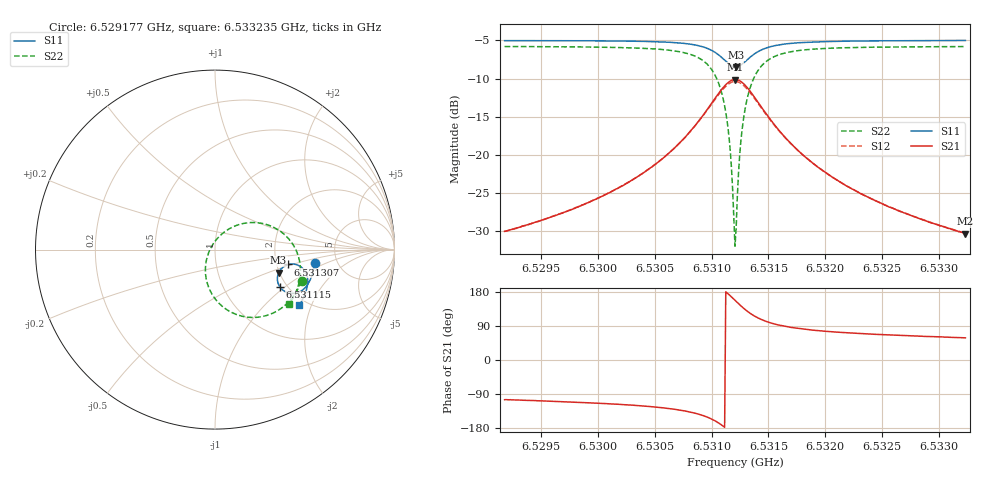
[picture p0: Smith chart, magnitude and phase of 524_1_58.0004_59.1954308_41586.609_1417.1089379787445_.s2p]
#  HZ  S  RI  R  50.00
! Rohde & Schwarz Vector Network Analyzer
! Rohde-Schwarz,ZNB20-2Port,1311601062101988,3.16
! Created: UTC 3/21/2024, 1:13:48 AM
! freq[Hz]  re:S11  im:S11  re:S21  im:S21  re:S12  im:S12  re:S22  im:S22
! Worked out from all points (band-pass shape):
!   401 points, 6.529177 GHz to 6.533235 GHz, reference 50 ohm
!   highest |S21| = -10.12 dB at 6.531206 GHz (marker M1); lowest = -30.3 dB at 6.533235 GHz (marker M2)
!   |S21| within 3 dB of the highest: 6.531005 GHz to 6.53141 GHz (404.9 kHz wide, 0.0062 % of centre)
!   lowest |S11| = -8.5 dB at 6.531216 GHz (marker M3), VSWR 2.21, Z = 98.9 - j29.8 ohm
!   |S11| at or under -10 dB: nowhere
!   |S22| runs from -31.9 to -5.8 dB; largest |S21 - S12| = 0.012
!   S11 on the Smith chart (normalised r, x): 6.529177 GHz: 3.39, -0.71; 6.531115 GHz: 1.83, -0.93; 6.531307 GHz: 2.32, -0.46; 6.533235 GHz: 1.82, -1.64
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6.5291775e9  0.5562 -0.0719  -0.00809 -0.0306  -0.00851 -0.0305  0.4823 -0.1762
6.529857e9  0.5449 -0.1284  -0.0177 -0.0435  -0.0187 -0.043  0.4506 -0.239
6.5302323e9  0.5328 -0.1633  -0.0298 -0.0565  -0.0314 -0.0559  0.4181 -0.2829
6.5305366e9  0.5152 -0.1961  -0.0522 -0.0742  -0.0543 -0.0728  0.3677 -0.3281
6.5307699e9  0.4874 -0.2255  -0.0926 -0.0934  -0.0953 -0.0902  0.2861 -0.3674
6.5309423e9  0.4429 -0.2439  -0.1619 -0.0991  -0.164 -0.0926  0.1587 -0.3728
6.5310437e9  0.3975 -0.2377  -0.232 -0.0718  -0.2309 -0.062  0.0404 -0.3156
6.5311147e9  0.3624 -0.2091  -0.2833 -0.0117  -0.2773 -0.00176  -0.0367 -0.2066
6.5311553e9  0.3496 -0.1804  -0.299 0.0422  -0.2898 0.0502  -0.0536 -0.1147
6.5311959e9  0.3491 -0.1463  -0.2936 0.1036  -0.2826 0.108  -0.0346 -0.0149
6.531206e9  0.3512 -0.1377  -0.2885 0.1188  -0.2772 0.1221  -0.0237 0.00881
6.5312162e9  0.3543 -0.1294  -0.2817 0.1333  -0.2705 0.1355  -0.0104 0.0315
6.5312263e9  0.3582 -0.1215  -0.2738 0.1469  -0.2627 0.1482  0.00501 0.0526
6.5312567e9  0.3744 -0.1016  -0.2429 0.1816  -0.233 0.1803  0.061 0.1046
6.531277e9  0.3875 -0.0918  -0.2188 0.1984  -0.2101 0.1959  0.1032 0.1281
6.5313074e9  0.4085 -0.0829  -0.1809 0.2137  -0.1742 0.2102  0.168 0.1474
6.5313784e9  0.4525 -0.0836  -0.1041 0.2147  -0.1006 0.2116  0.297 0.1365
6.5314799e9  0.4906 -0.1066  -0.0384 0.1823  -0.0369 0.1806  0.4037 0.0676
6.531632e9  0.5119 -0.1436  0.000728 0.1343  0.00193 0.1337  0.4618 -0.0293
6.5318856e9  0.5164 -0.1875  0.0171 0.0875  0.018 0.0872  0.4762 -0.1277
6.5325651e9  0.4971 -0.2581  0.0184 0.0417  0.0193 0.0416  0.4474 -0.2444
6.5332346e9  0.4706 -0.3082  0.016 0.0261  0.0166 0.026  0.4131 -0.3041
